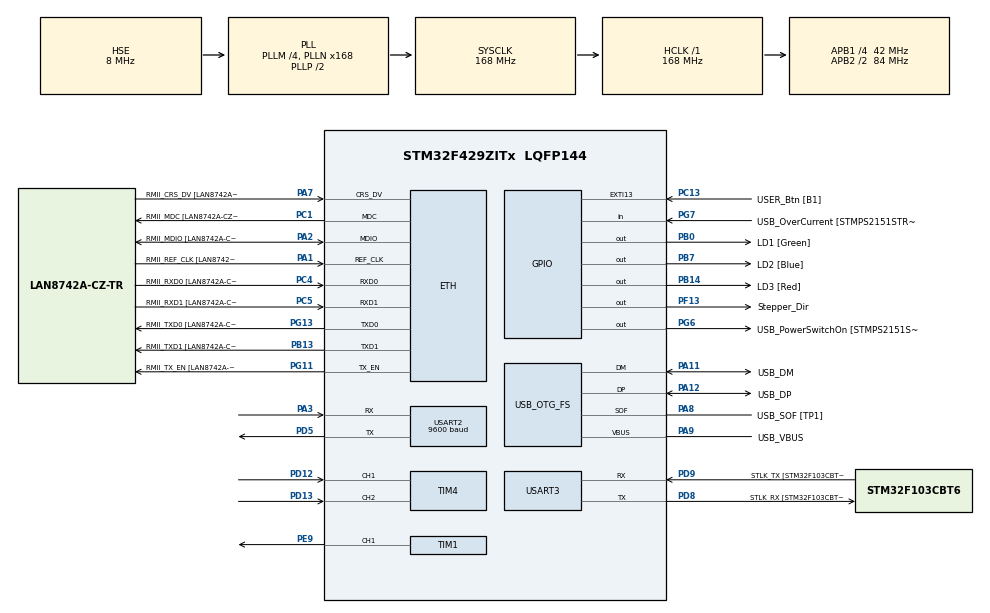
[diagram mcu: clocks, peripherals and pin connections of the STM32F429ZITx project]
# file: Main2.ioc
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Dma.Request0=USART2_RX
Dma.Request1=USART2_TX
Dma.USART2_RX.0.Direction=DMA_PERIPH_TO_MEMORY
Dma.USART2_RX.0.FIFOMode=DMA_FIFOMODE_DISABLE
Dma.USART2_RX.0.Instance=DMA1_Stream5
Dma.USART2_RX.0.MemDataAlignment=DMA_MDATAALIGN_BYTE
Dma.USART2_RX.0.MemInc=DMA_MINC_ENABLE
Dma.USART2_RX.0.Mode=DMA_NORMAL
Dma.USART2_RX.0.PeriphDataAlignment=DMA_PDATAALIGN_BYTE
Dma.USART2_RX.0.PeriphInc=DMA_PINC_DISABLE
Dma.USART2_RX.0.Priority=DMA_PRIORITY_LOW
Dma.USART2_TX.1.Direction=DMA_MEMORY_TO_PERIPH
Dma.USART2_TX.1.FIFOMode=DMA_FIFOMODE_DISABLE
Dma.USART2_TX.1.Instance=DMA1_Stream6
Dma.USART2_TX.1.MemDataAlignment=DMA_MDATAALIGN_BYTE
Dma.USART2_TX.1.MemInc=DMA_MINC_ENABLE
Dma.USART2_TX.1.Mode=DMA_NORMAL
Dma.USART2_TX.1.PeriphDataAlignment=DMA_PDATAALIGN_BYTE
Dma.USART2_TX.1.PeriphInc=DMA_PINC_DISABLE
Dma.USART2_TX.1.Priority=DMA_PRIORITY_LOW
ETH.MediaInterface=HAL_ETH_RMII_MODE
ETH.PHY_Name=LAN8742A_PHY_ADDRESS
ETH.PHY_Value=0
ETH.PhyAddress=0
Mcu.Family=STM32F4
Mcu.Name=STM32F429ZITx
Mcu.Package=LQFP144
Mcu.UserConstants=MSG_LEN,16;MSG_FRONT,'\#';MSG_END,'\\n';BT_UART,$$_USART2_IP_HANDLE_$$
NVIC.DMA1_Stream5_IRQn=true\:0\:0\:false\:false\:true\:false\:true\:true
NVIC.DMA1_Stream6_IRQn=true\:0\:0\:false\:false\:true\:false\:true\:true
NVIC.EXTI15_10_IRQn=true\:0\:0\:false\:false\:true\:true\:true\:true
NVIC.PriorityGroup=NVIC_PRIORITYGROUP_4
NVIC.TIM1_UP_TIM10_IRQn=true\:0\:0\:false\:false\:true\:true\:true\:true
NVIC.TIM4_IRQn=true\:0\:0\:false\:false\:true\:true\:true\:true
NVIC.USART2_IRQn=true\:0\:0\:false\:false\:true\:true\:true\:true
PA1.GPIO_Label=RMII_REF_CLK [LAN8742A-CZ-TR_REFCLK0]
PA1.Mode=RMII
PA1.Signal=ETH_REF_CLK
PA10.GPIO_Label=USB_ID
PA10.Signal=USB_OTG_FS_ID
PA11.GPIO_Label=USB_DM
PA11.Mode=Device_Only
PA11.Signal=USB_OTG_FS_DM
PA12.GPIO_Label=USB_DP
PA12.Mode=Device_Only
PA12.Signal=USB_OTG_FS_DP
PA13.GPIO_Label=TMS
PA13.Mode=Serial_Wire
PA13.Signal=SYS_JTMS-SWDIO
PA14.GPIO_Label=TCK
PA14.Mode=Serial_Wire
PA14.Signal=SYS_JTCK-SWCLK
PA2.GPIO_Label=RMII_MDIO [LAN8742A-CZ-TR_MDIO]
PA2.Mode=RMII
PA2.Signal=ETH_MDIO
PA3.Mode=Asynchronous
PA3.Signal=USART2_RX
PA7.GPIO_Label=RMII_CRS_DV [LAN8742A-CZ-TR_CRS_DV]
PA7.Mode=RMII
PA7.Signal=ETH_CRS_DV
PA8.GPIO_Label=USB_SOF [TP1]
PA8.Mode=Activate_SOF_FS
PA8.Signal=USB_OTG_FS_SOF
PA9.GPIO_Label=USB_VBUS
PA9.Mode=Activate_VBUS
PA9.Signal=USB_OTG_FS_VBUS
PB0.GPIO_Label=LD1 [Green]
PB0.Signal=GPIO_Output
PB13.GPIO_Label=RMII_TXD1 [LAN8742A-CZ-TR_TXD1]
PB13.Mode=RMII
PB13.Signal=ETH_TXD1
PB14.GPIO_Label=LD3 [Red]
PB14.Signal=GPIO_Output
PB7.GPIO_Label=LD2 [Blue]
PB7.Signal=GPIO_Output
PC1.GPIO_Label=RMII_MDC [LAN8742A-CZ-TR_MDC]
PC1.Mode=RMII
PC1.Signal=ETH_MDC
PC13.GPIO_Label=USER_Btn [B1]
PC13.Signal=GPXTI13
PC14/OSC32_IN.Mode=LSE-External-Oscillator
PC14/OSC32_IN.Signal=RCC_OSC32_IN
PC15/OSC32_OUT.Mode=LSE-External-Oscillator
PC15/OSC32_OUT.Signal=RCC_OSC32_OUT
PC4.GPIO_Label=RMII_RXD0 [LAN8742A-CZ-TR_RXD0]
PC4.Mode=RMII
PC4.Signal=ETH_RXD0
PC5.GPIO_Label=RMII_RXD1 [LAN8742A-CZ-TR_RXD1]
PC5.Mode=RMII
PC5.Signal=ETH_RXD1
PD12.Signal=S_TIM4_CH1
PD13.Signal=S_TIM4_CH2
PD5.Mode=Asynchronous
PD5.Signal=USART2_TX
PD8.GPIO_Label=STLK_RX [STM32F103CBT6_PA3]
PD8.Mode=Asynchronous
PD8.Signal=USART3_TX
PD9.GPIO_Label=STLK_TX [STM32F103CBT6_PA2]
PD9.Mode=Asynchronous
PD9.Signal=USART3_RX
PE9.Signal=S_TIM1_CH1
PF13.GPIO_Label=Stepper_Dir
PF13.Signal=GPIO_Output
PG11.GPIO_Label=RMII_TX_EN [LAN8742A-CZ-TR_TXEN]
PG11.Mode=RMII
PG11.Signal=ETH_TX_EN
PG13.GPIO_Label=RMII_TXD0 [LAN8742A-CZ-TR_TXD0]
PG13.Mode=RMII
PG13.Signal=ETH_TXD0
PG6.GPIO_Label=USB_PowerSwitchOn [STMPS2151STR_EN]
PG6.Signal=GPIO_Output
PG7.GPIO_Label=USB_OverCurrent [STMPS2151STR_FAULT]
PG7.Signal=GPIO_Input
PH0/OSC_IN.GPIO_Label=MCO [STM32F103CBT6_PA8]
PH0/OSC_IN.Mode=HSE-External-Clock-Source
PH0/OSC_IN.Signal=RCC_OSC_IN
PH1/OSC_OUT.Mode=HSE-External-Clock-Source
PH1/OSC_OUT.Signal=RCC_OSC_OUT
ProjectManager.HeapSize=0x200
ProjectManager.StackSize=0x400
ProjectManager.TargetToolchain=STM32CubeIDE
RCC.48MHZClocksFreq_Value=48000000
RCC.AHBFreq_Value=168000000
RCC.APB1CLKDivider=RCC_HCLK_DIV4
RCC.APB1Freq_Value=42000000
RCC.APB1TimFreq_Value=84000000
RCC.APB2CLKDivider=RCC_HCLK_DIV2
RCC.APB2Freq_Value=84000000
RCC.APB2TimCLKDivider=2
RCC.APB2TimFreq_Value=168000000
RCC.CortexFreq_Value=168000000
RCC.HCLKFreq_Value=168000000
RCC.HSE_VALUE=8000000
RCC.HSI_VALUE=16000000
RCC.PLLM=4
RCC.PLLMUL=RCC_PLL_MUL9
RCC.PLLN=168
RCC.PLLQ=7
RCC.PRESCALERUSB=RCC_USBCLKSOURCE_PLL_DIV1_5
RCC.SYSCLKFreq_VALUE=168000000
RCC.SYSCLKSource=RCC_SYSCLKSOURCE_PLLCLK
RCC.SYSCLKSourceVirtual=RCC_SYSCLKSOURCE_PLLCLK
RCC.USBFreq_Value=48000000
RCC.VCOOutputFreq_Value=336000000
SH.S_TIM1_CH1.0=TIM1_CH1,PWM Generation1 CH1
SH.S_TIM4_CH1.0=TIM4_CH1,Encoder_Interface
SH.S_TIM4_CH2.0=TIM4_CH2,Encoder_Interface
TIM1.Channel-PWM\ Generation1\ CH1=TIM_CHANNEL_1
TIM1.CounterMode=TIM_COUNTERMODE_UP
TIM1.OC1Preload_PWM=DISABLE
TIM1.OCFastMode_PWM-PWM\ Generation1\ CH1=TIM_OCFAST_DISABLE
TIM1.OCIdleState_1=TIM_OCIDLESTATE_RESET
TIM1.OCMode_PWM-PWM\ Generation1\ CH1=TIM_OCMODE_PWM1
TIM1.OCPolarity_1=TIM_OCPOLARITY_LOW
TIM1.Period=1000
TIM1.Prescaler=167
TIM1.Pulse-PWM\ Generation1\ CH1=0
TIM1.TIM_MasterOutputTrigger=TIM_TRGO_UPDATE
TIM4.IC2Filter=9
USART2.BaudRate=9600
USART2.VirtualMode=VM_ASYNC
USART3.VirtualMode=VM_ASYNC
USB_OTG_FS.VirtualMode=Device_Only
VP_TIM1_VS_ClockSourceINT.Mode=Internal
board=NUCLEO-F429ZI

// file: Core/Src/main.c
/* USER CODE BEGIN Header */
/**
  ******************************************************************************
  * @file           : main.c
  * @brief          : Main program body
  ******************************************************************************
  * @attention
  *
  * Copyright (c) 2024 STMicroelectronics.
  * All rights reserved.
  *
  * This software is licensed under terms that can be found in the LICENSE file
  * in the root directory of this software component.
  * If no LICENSE file comes with this software, it is provided AS-IS.
  *
  ******************************************************************************
  */
/* USER CODE END Header */
#include "main.h"
#include "string.h"

/* USER CODE BEGIN Includes */
#include "encoder.h"
/* USER CODE END Includes */

/* USER CODE BEGIN PD */
#define STEPPER_TIMER &htim1
#define STEPPER_INTERVAL 1000
#define NUM_OF_CNT_PER_CYCLE 400
#define NUM_OF_STEPS_PER_CYCLE 16200
#define NUM_OF_SHELF 6
#define INIT_SHELF 3
#define ACC_DIFF 3

/* USER CODE END PD */

ETH_TxPacketConfig TxConfig;
ETH_DMADescTypeDef  DMARxDscrTab[ETH_RX_DESC_CNT]; /* Ethernet Rx DMA Descriptors */
ETH_DMADescTypeDef  DMATxDscrTab[ETH_TX_DESC_CNT]; /* Ethernet Tx DMA Descriptors */

ETH_HandleTypeDef heth;

TIM_HandleTypeDef htim1;
TIM_HandleTypeDef htim4;

UART_HandleTypeDef huart2;
UART_HandleTypeDef huart3;
DMA_HandleTypeDef hdma_usart2_rx;
DMA_HandleTypeDef hdma_usart2_tx;

PCD_HandleTypeDef hpcd_USB_OTG_FS;

/* USER CODE BEGIN PV */
#include "bluetooth.h"
#include "stepper.h"

/* USER CODE END PV */

void SystemClock_Config(void);
static void MX_GPIO_Init(void);
static void MX_DMA_Init(void);
static void MX_ETH_Init(void);
static void MX_USART3_UART_Init(void);
static void MX_USB_OTG_FS_PCD_Init(void);
static void MX_USART2_UART_Init(void);
static void MX_TIM1_Init(void);
static void MX_TIM4_Init(void);
/* USER CODE BEGIN PFP */
void txCplt();
void getCMD(const uint8_t *cmd);

void Process_CMD();

/* USER CODE END PFP */

/* USER CODE BEGIN 0 */
Encoder enc1;
int curr_cnt;
uint8_t but;

uint8_t flag[1], cmd[MSG_LEN-1];
HAL_UART_RxEventTypeTypeDef eventtype;
uint8_t tmp_rx[MSG_LEN], tmp_tx[MSG_LEN];

uint16_t interval = 1000;
int steps;
uint16_t distance = NUM_OF_STEPS_PER_CYCLE/NUM_OF_SHELF;
uint8_t curr_shelf = INIT_SHELF, desti_shelf = INIT_SHELF;
int desti_cnt[NUM_OF_SHELF];

int check = 5, mainwhile;

/* USER CODE END 0 */

int main(void)
{

  /* MCU Configuration--------------------------------------------------------*/

  /* Reset of all peripherals, Initializes the Flash interface and the Systick. */
  HAL_Init();

  /* USER CODE BEGIN Init */
  float cnt_inter = NUM_OF_CNT_PER_CYCLE/NUM_OF_SHELF;
  for(int i=0; i<NUM_OF_SHELF; i++)
  {
	  desti_cnt[i] = cnt_inter*(i - INIT_SHELF);
  }

  /* USER CODE END Init */

  /* Configure the system clock */
  SystemClock_Config();

  /* Initialize all configured peripherals */
  MX_GPIO_Init();
  MX_DMA_Init();
  MX_ETH_Init();
  MX_USART3_UART_Init();
  MX_USB_OTG_FS_PCD_Init();
  MX_USART2_UART_Init();
  MX_TIM1_Init();
  MX_TIM4_Init();
  /* USER CODE BEGIN 2 */
  Encoder_Start(&enc1, &htim4);

  Stepper_Config(STEPPER_TIMER, TIM_CHANNEL_1, STEPPER_INTERVAL, Stepper_Dir_GPIO_Port, Stepper_Dir_Pin);
  BT_Config(txCplt, getCMD);
  HAL_GPIO_WritePin(LD3_GPIO_Port, LD3_Pin, RESET);
  HAL_GPIO_WritePin(LD3_GPIO_Port, LD2_Pin, RESET);

  BT_Transmit_Str("AutoBookshelf");
  BT_StartGetCMD();

  /* USER CODE END 2 */

  /* Infinite loop */
  /* USER CODE BEGIN WHILE */
  while (1)
  {
	  curr_cnt = Encoder_getCnt(&enc1);
	  if(steps != 0 && Stepper_Cplt())
	  {
		  Stepper_Set_Interval(interval);
		  Stepper_Rotate(steps);
		  steps = 0;
	  }
	  if(but == 1 && Stepper_Cplt())
	  {
		  Stepper_Rotate(1);
	  }
	  check = Stepper_Cplt();
	  mainwhile = 1- mainwhile;

    /* USER CODE END WHILE */

  }
}

void SystemClock_Config(void)
{
  RCC_OscInitTypeDef RCC_OscInitStruct = {0};
  RCC_ClkInitTypeDef RCC_ClkInitStruct = {0};

  /** Configure the main internal regulator output voltage
  */
  __HAL_RCC_PWR_CLK_ENABLE();
  __HAL_PWR_VOLTAGESCALING_CONFIG(PWR_REGULATOR_VOLTAGE_SCALE1);

  /** Initializes the RCC Oscillators according to the specified parameters
  * in the RCC_OscInitTypeDef structure.
  */
  RCC_OscInitStruct.OscillatorType = RCC_OSCILLATORTYPE_HSE;
  RCC_OscInitStruct.HSEState = RCC_HSE_BYPASS;
  RCC_OscInitStruct.PLL.PLLState = RCC_PLL_ON;
  RCC_OscInitStruct.PLL.PLLSource = RCC_PLLSOURCE_HSE;
  RCC_OscInitStruct.PLL.PLLM = 4;
  RCC_OscInitStruct.PLL.PLLN = 168;
  RCC_OscInitStruct.PLL.PLLP = RCC_PLLP_DIV2;
  RCC_OscInitStruct.PLL.PLLQ = 7;
  if (HAL_RCC_OscConfig(&RCC_OscInitStruct) != HAL_OK)
  {
    Error_Handler();
  }

  /** Initializes the CPU, AHB and APB buses clocks
  */
  RCC_ClkInitStruct.ClockType = RCC_CLOCKTYPE_HCLK|RCC_CLOCKTYPE_SYSCLK
                              |RCC_CLOCKTYPE_PCLK1|RCC_CLOCKTYPE_PCLK2;
  RCC_ClkInitStruct.SYSCLKSource = RCC_SYSCLKSOURCE_PLLCLK;
  RCC_ClkInitStruct.AHBCLKDivider = RCC_SYSCLK_DIV1;
  RCC_ClkInitStruct.APB1CLKDivider = RCC_HCLK_DIV4;
  RCC_ClkInitStruct.APB2CLKDivider = RCC_HCLK_DIV2;

  if (HAL_RCC_ClockConfig(&RCC_ClkInitStruct, FLASH_LATENCY_5) != HAL_OK)
  {
    Error_Handler();
  }
}

static void MX_ETH_Init(void)
{

   static uint8_t MACAddr[6];

  heth.Instance = ETH;
  MACAddr[0] = 0x00;
  MACAddr[1] = 0x80;
  MACAddr[2] = 0xE1;
  MACAddr[3] = 0x00;
  MACAddr[4] = 0x00;
  MACAddr[5] = 0x00;
  heth.Init.MACAddr = &MACAddr[0];
  heth.Init.MediaInterface = HAL_ETH_RMII_MODE;
  heth.Init.TxDesc = DMATxDscrTab;
  heth.Init.RxDesc = DMARxDscrTab;
  heth.Init.RxBuffLen = 1524;

  if (HAL_ETH_Init(&heth) != HAL_OK)
  {
    Error_Handler();
  }

  memset(&TxConfig, 0 , sizeof(ETH_TxPacketConfig));
  TxConfig.Attributes = ETH_TX_PACKETS_FEATURES_CSUM | ETH_TX_PACKETS_FEATURES_CRCPAD;
  TxConfig.ChecksumCtrl = ETH_CHECKSUM_IPHDR_PAYLOAD_INSERT_PHDR_CALC;
  TxConfig.CRCPadCtrl = ETH_CRC_PAD_INSERT;

}

static void MX_TIM1_Init(void)
{

  TIM_ClockConfigTypeDef sClockSourceConfig = {0};
  TIM_MasterConfigTypeDef sMasterConfig = {0};
  TIM_OC_InitTypeDef sConfigOC = {0};
  TIM_BreakDeadTimeConfigTypeDef sBreakDeadTimeConfig = {0};

  htim1.Instance = TIM1;
  htim1.Init.Prescaler = 167;
  htim1.Init.CounterMode = TIM_COUNTERMODE_UP;
  htim1.Init.Period = 1000;
  htim1.Init.ClockDivision = TIM_CLOCKDIVISION_DIV1;
  htim1.Init.RepetitionCounter = 0;
  htim1.Init.AutoReloadPreload = TIM_AUTORELOAD_PRELOAD_DISABLE;
  if (HAL_TIM_Base_Init(&htim1) != HAL_OK)
  {
    Error_Handler();
  }
  sClockSourceConfig.ClockSource = TIM_CLOCKSOURCE_INTERNAL;
  if (HAL_TIM_ConfigClockSource(&htim1, &sClockSourceConfig) != HAL_OK)
  {
    Error_Handler();
  }
  if (HAL_TIM_PWM_Init(&htim1) != HAL_OK)
  {
    Error_Handler();
  }
  sMasterConfig.MasterOutputTrigger = TIM_TRGO_UPDATE;
  sMasterConfig.MasterSlaveMode = TIM_MASTERSLAVEMODE_DISABLE;
  if (HAL_TIMEx_MasterConfigSynchronization(&htim1, &sMasterConfig) != HAL_OK)
  {
    Error_Handler();
  }
  sConfigOC.OCMode = TIM_OCMODE_PWM1;
  sConfigOC.Pulse = 0;
  sConfigOC.OCPolarity = TIM_OCPOLARITY_LOW;
  sConfigOC.OCNPolarity = TIM_OCNPOLARITY_HIGH;
  sConfigOC.OCFastMode = TIM_OCFAST_DISABLE;
  sConfigOC.OCIdleState = TIM_OCIDLESTATE_RESET;
  sConfigOC.OCNIdleState = TIM_OCNIDLESTATE_RESET;
  if (HAL_TIM_PWM_ConfigChannel(&htim1, &sConfigOC, TIM_CHANNEL_1) != HAL_OK)
  {
    Error_Handler();
  }
  __HAL_TIM_DISABLE_OCxPRELOAD(&htim1, TIM_CHANNEL_1);
  sBreakDeadTimeConfig.OffStateRunMode = TIM_OSSR_DISABLE;
  sBreakDeadTimeConfig.OffStateIDLEMode = TIM_OSSI_DISABLE;
  sBreakDeadTimeConfig.LockLevel = TIM_LOCKLEVEL_OFF;
  sBreakDeadTimeConfig.DeadTime = 0;
  sBreakDeadTimeConfig.BreakState = TIM_BREAK_DISABLE;
  sBreakDeadTimeConfig.BreakPolarity = TIM_BREAKPOLARITY_HIGH;
  sBreakDeadTimeConfig.AutomaticOutput = TIM_AUTOMATICOUTPUT_DISABLE;
  if (HAL_TIMEx_ConfigBreakDeadTime(&htim1, &sBreakDeadTimeConfig) != HAL_OK)
  {
    Error_Handler();
  }
  HAL_TIM_MspPostInit(&htim1);

}

static void MX_TIM4_Init(void)
{

  TIM_Encoder_InitTypeDef sConfig = {0};
  TIM_MasterConfigTypeDef sMasterConfig = {0};

  htim4.Instance = TIM4;
  htim4.Init.Prescaler = 0;
  htim4.Init.CounterMode = TIM_COUNTERMODE_UP;
  htim4.Init.Period = 65535;
  htim4.Init.ClockDivision = TIM_CLOCKDIVISION_DIV1;
  htim4.Init.AutoReloadPreload = TIM_AUTORELOAD_PRELOAD_DISABLE;
  sConfig.EncoderMode = TIM_ENCODERMODE_TI1;
  sConfig.IC1Polarity = TIM_ICPOLARITY_RISING;
  sConfig.IC1Selection = TIM_ICSELECTION_DIRECTTI;
  sConfig.IC1Prescaler = TIM_ICPSC_DIV1;
  sConfig.IC1Filter = 0;
  sConfig.IC2Polarity = TIM_ICPOLARITY_RISING;
  sConfig.IC2Selection = TIM_ICSELECTION_DIRECTTI;
  sConfig.IC2Prescaler = TIM_ICPSC_DIV1;
  sConfig.IC2Filter = 9;
  if (HAL_TIM_Encoder_Init(&htim4, &sConfig) != HAL_OK)
  {
    Error_Handler();
  }
  sMasterConfig.MasterOutputTrigger = TIM_TRGO_RESET;
  sMasterConfig.MasterSlaveMode = TIM_MASTERSLAVEMODE_DISABLE;
  if (HAL_TIMEx_MasterConfigSynchronization(&htim4, &sMasterConfig) != HAL_OK)
  {
    Error_Handler();
  }

}

static void MX_USART2_UART_Init(void)
{

  huart2.Instance = USART2;
  huart2.Init.BaudRate = 9600;
  huart2.Init.WordLength = UART_WORDLENGTH_8B;
  huart2.Init.StopBits = UART_STOPBITS_1;
  huart2.Init.Parity = UART_PARITY_NONE;
  huart2.Init.Mode = UART_MODE_TX_RX;
  huart2.Init.HwFlowCtl = UART_HWCONTROL_NONE;
  huart2.Init.OverSampling = UART_OVERSAMPLING_16;
  if (HAL_UART_Init(&huart2) != HAL_OK)
  {
    Error_Handler();
  }

}

static void MX_USART3_UART_Init(void)
{

  huart3.Instance = USART3;
  huart3.Init.BaudRate = 115200;
  huart3.Init.WordLength = UART_WORDLENGTH_8B;
  huart3.Init.StopBits = UART_STOPBITS_1;
  huart3.Init.Parity = UART_PARITY_NONE;
  huart3.Init.Mode = UART_MODE_TX_RX;
  huart3.Init.HwFlowCtl = UART_HWCONTROL_NONE;
  huart3.Init.OverSampling = UART_OVERSAMPLING_16;
  if (HAL_UART_Init(&huart3) != HAL_OK)
  {
    Error_Handler();
  }

}

static void MX_USB_OTG_FS_PCD_Init(void)
{

  hpcd_USB_OTG_FS.Instance = USB_OTG_FS;
  hpcd_USB_OTG_FS.Init.dev_endpoints = 4;
  hpcd_USB_OTG_FS.Init.speed = PCD_SPEED_FULL;
  hpcd_USB_OTG_FS.Init.dma_enable = DISABLE;
  hpcd_USB_OTG_FS.Init.phy_itface = PCD_PHY_EMBEDDED;
  hpcd_USB_OTG_FS.Init.Sof_enable = ENABLE;
  hpcd_USB_OTG_FS.Init.low_power_enable = DISABLE;
  hpcd_USB_OTG_FS.Init.lpm_enable = DISABLE;
  hpcd_USB_OTG_FS.Init.vbus_sensing_enable = ENABLE;
  hpcd_USB_OTG_FS.Init.use_dedicated_ep1 = DISABLE;
  if (HAL_PCD_Init(&hpcd_USB_OTG_FS) != HAL_OK)
  {
    Error_Handler();
  }

}

static void MX_DMA_Init(void)
{

  /* DMA controller clock enable */
  __HAL_RCC_DMA1_CLK_ENABLE();

  /* DMA interrupt init */
  /* DMA1_Stream5_IRQn interrupt configuration */
  HAL_NVIC_SetPriority(DMA1_Stream5_IRQn, 0, 0);
  HAL_NVIC_EnableIRQ(DMA1_Stream5_IRQn);
  /* DMA1_Stream6_IRQn interrupt configuration */
  HAL_NVIC_SetPriority(DMA1_Stream6_IRQn, 0, 0);
  HAL_NVIC_EnableIRQ(DMA1_Stream6_IRQn);

}

static void MX_GPIO_Init(void)
{
  GPIO_InitTypeDef GPIO_InitStruct = {0};

  /* GPIO Ports Clock Enable */
  __HAL_RCC_GPIOC_CLK_ENABLE();
  __HAL_RCC_GPIOH_CLK_ENABLE();
  __HAL_RCC_GPIOA_CLK_ENABLE();
  __HAL_RCC_GPIOB_CLK_ENABLE();
  __HAL_RCC_GPIOF_CLK_ENABLE();
  __HAL_RCC_GPIOE_CLK_ENABLE();
  __HAL_RCC_GPIOD_CLK_ENABLE();
  __HAL_RCC_GPIOG_CLK_ENABLE();

  /*Configure GPIO pin Output Level */
  HAL_GPIO_WritePin(GPIOB, LD1_Pin|LD3_Pin|LD2_Pin, GPIO_PIN_RESET);

  /*Configure GPIO pin Output Level */
  HAL_GPIO_WritePin(Stepper_Dir_GPIO_Port, Stepper_Dir_Pin, GPIO_PIN_RESET);

  /*Configure GPIO pin Output Level */
  HAL_GPIO_WritePin(USB_PowerSwitchOn_GPIO_Port, USB_PowerSwitchOn_Pin, GPIO_PIN_RESET);

  /*Configure GPIO pin : USER_Btn_Pin */
  GPIO_InitStruct.Pin = USER_Btn_Pin;
  GPIO_InitStruct.Mode = GPIO_MODE_IT_RISING;
  GPIO_InitStruct.Pull = GPIO_NOPULL;
  HAL_GPIO_Init(USER_Btn_GPIO_Port, &GPIO_InitStruct);

  /*Configure GPIO pins : LD1_Pin LD3_Pin LD2_Pin */
  GPIO_InitStruct.Pin = LD1_Pin|LD3_Pin|LD2_Pin;
  GPIO_InitStruct.Mode = GPIO_MODE_OUTPUT_PP;
  GPIO_InitStruct.Pull = GPIO_NOPULL;
  GPIO_InitStruct.Speed = GPIO_SPEED_FREQ_LOW;
  HAL_GPIO_Init(GPIOB, &GPIO_InitStruct);

  /*Configure GPIO pin : Stepper_Dir_Pin */
  GPIO_InitStruct.Pin = Stepper_Dir_Pin;
  GPIO_InitStruct.Mode = GPIO_MODE_OUTPUT_PP;
  GPIO_InitStruct.Pull = GPIO_NOPULL;
  GPIO_InitStruct.Speed = GPIO_SPEED_FREQ_LOW;
  HAL_GPIO_Init(Stepper_Dir_GPIO_Port, &GPIO_InitStruct);

  /*Configure GPIO pin : USB_PowerSwitchOn_Pin */
  GPIO_InitStruct.Pin = USB_PowerSwitchOn_Pin;
  GPIO_InitStruct.Mode = GPIO_MODE_OUTPUT_PP;
  GPIO_InitStruct.Pull = GPIO_NOPULL;
  GPIO_InitStruct.Speed = GPIO_SPEED_FREQ_LOW;
  HAL_GPIO_Init(USB_PowerSwitchOn_GPIO_Port, &GPIO_InitStruct);

  /*Configure GPIO pin : USB_OverCurrent_Pin */
  GPIO_InitStruct.Pin = USB_OverCurrent_Pin;
  GPIO_InitStruct.Mode = GPIO_MODE_INPUT;
  GPIO_InitStruct.Pull = GPIO_NOPULL;
  HAL_GPIO_Init(USB_OverCurrent_GPIO_Port, &GPIO_InitStruct);

  /* EXTI interrupt init*/
  HAL_NVIC_SetPriority(EXTI15_10_IRQn, 0, 0);
  HAL_NVIC_EnableIRQ(EXTI15_10_IRQn);

}

/* USER CODE BEGIN 4 */

void HAL_GPIO_EXTI_Callback(uint16_t GPIO_Pin)
{
	if(GPIO_Pin == GPIO_PIN_13)
	{
		Encoder_retZero(&enc1);
	}
}

void txCplt()
{}

void getCMD(const uint8_t *cmd)
{
	HAL_GPIO_WritePin(LD2_GPIO_Port, LD2_Pin, SET);
	memset(tmp_rx, 0, sizeof(uint8_t)*MSG_LEN);
	memcpy(tmp_rx, cmd, sizeof(uint8_t)*MSG_LEN);

	Process_CMD();
}

void Process_CMD()
{
	if(tmp_rx[1] == 's')
	{
		desti_shelf = (tmp_rx[2]-'0')*100 + (tmp_rx[3]-'0')*10 + (tmp_rx[4]-'0')*1;
		if(desti_shelf == curr_shelf)
		{
			while(BT_Transmit_Str("Not Change") == 0){}
		}
		if(Stepper_Rotate((desti_shelf-curr_shelf)*distance)!=1)
		{
			while(BT_Transmit_Str("Still Busy")==0){}
		}
	}
}

void HAL_TIM_PeriodElapsedCallback(TIM_HandleTypeDef *htim)
{
	if(htim == STEPPER_TIMER)
	{
		Stepper_Step_Cplt();
	}
	if(htim == enc1.htim)
		Encoder_elapseIT(&enc1);
}

int goal_cnt, cnt_diff;

void Stepper_Rotate_Cplt_CB()
{
	if(curr_shelf == desti_shelf)
		return;
	/*int */goal_cnt = desti_cnt[desti_shelf];
	curr_cnt = Encoder_getCnt(&enc1);
	/*int */cnt_diff = goal_cnt - curr_cnt;
	if(cnt_diff>ACC_DIFF || cnt_diff<-ACC_DIFF)
	{
		Stepper_Rotate((cnt_diff*NUM_OF_STEPS_PER_CYCLE)/NUM_OF_CNT_PER_CYCLE);
		return;
	}
	if(curr_shelf != desti_shelf)
	{
		curr_shelf = desti_shelf;
		BT_Transmit_Str("Rotate Cplt");
	}

}

/* USER CODE END 4 */

void Error_Handler(void)
{
  __disable_irq();
  while (1)
  {
  }
}
